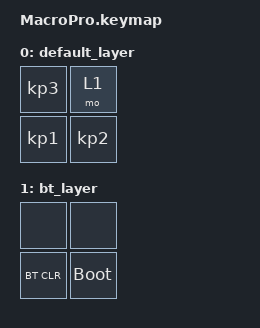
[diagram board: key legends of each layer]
#include <behaviors.dtsi>
#include <dt-bindings/zmk/keys.h>
#include <dt-bindings/zmk/bt.h>

/ {
    keymap {
        compatible = "zmk,keymap";

        default_layer {
            bindings = <
                &kp KP_N3   &mo 1
                &kp KP_N1   &kp KP_N2
            >;
        };

        bt_layer {
            bindings = <
                &none   &none
                &bt BT_CLR   &bootloader
            >;
        };
    };
};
